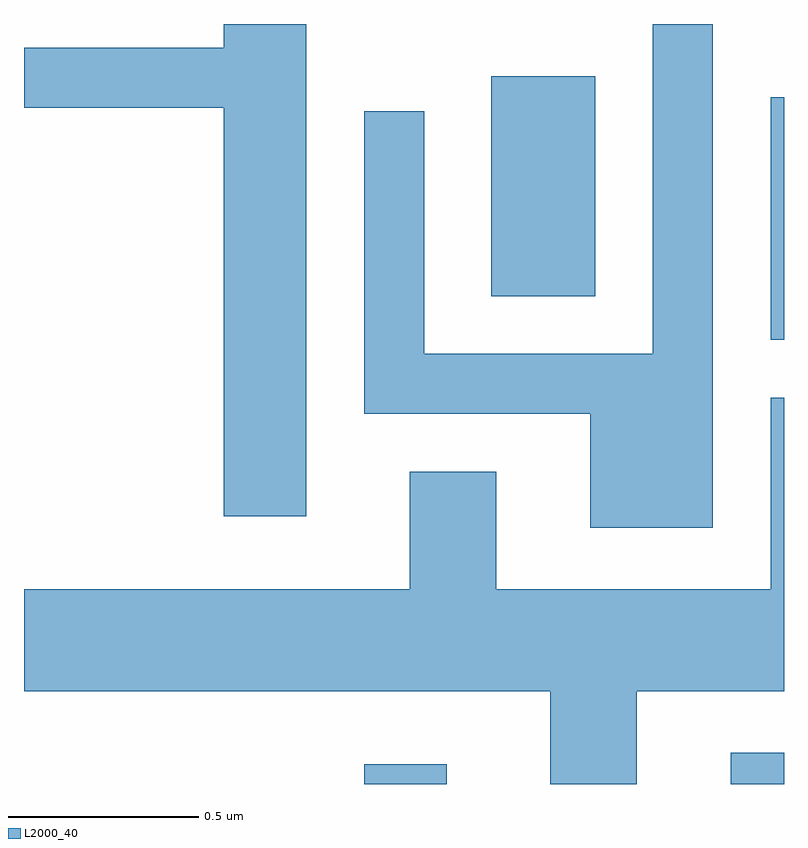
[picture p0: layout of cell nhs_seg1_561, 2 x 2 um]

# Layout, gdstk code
import gdstk
lib = gdstk.Library(unit=1e-6, precision=1e-09)
def R(c, l, rs):  # rectangles x0, y0, x1, y1
    for r in rs: c.add(gdstk.rectangle(r[:2], r[2:], *l))
def P(c, l, *ps):  # polygons
    for p in ps: c.add(gdstk.Polygon(p, *l))
L2000_40 = (2000, 40)

nhs_seg1_561 = lib.new_cell('nhs_seg1_561')
R(nhs_seg1_561, L2000_40, [(190.506,852.712,190.724,852.764), (191.471,852.712,191.611,852.794), (191.576,853.881,191.611,854.519), (190.841,853.996,191.114,854.574)])
P(nhs_seg1_561, L2000_40, [(190.354,854.712),(190.136,854.712),(190.136,854.649),(189.611,854.649),(189.611,854.491),(190.136,854.491),(190.136,853.416),(190.354,853.416)],
  [(191.424,854.712),(191.266,854.712),(191.266,853.844),(190.664,853.844),(190.664,854.483),(190.506,854.483),(190.506,853.686),(191.101,853.686),(191.101,853.386),(191.424,853.386)],
  [(191.224,852.956),(191.611,852.956),(191.611,853.729),(191.576,853.729),(191.576,853.224),(190.854,853.224),(190.854,853.534),(190.626,853.534),(190.626,853.224),(189.611,853.224),(189.611,852.956),(190.996,852.956),(190.996,852.712),(191.224,852.712)])

lib.write_gds('nhs_seg1_561.gds')
